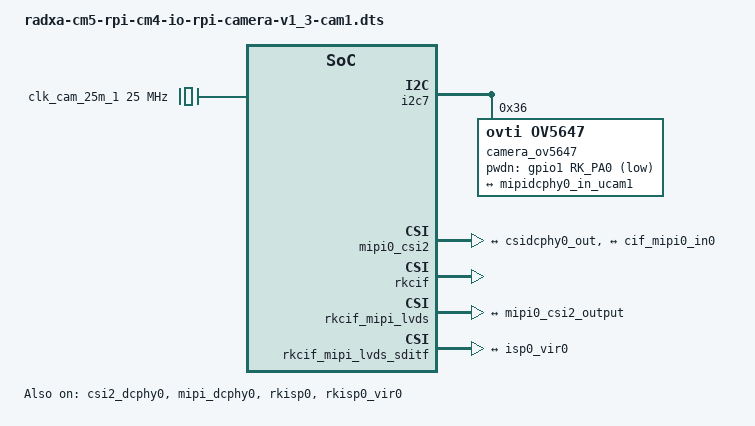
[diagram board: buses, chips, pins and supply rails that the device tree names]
/dts-v1/;
/plugin/;

#include <dt-bindings/gpio/gpio.h>
#include <dt-bindings/pinctrl/rockchip.h>

/ {
	metadata {
		title ="Enable Raspberry Pi Camera v1.3 on CAM1";
		compatible = "radxa,cm5-rpi-cm4-io";
		category = "camera";
		exclusive = "csi2_dcphy0";
		description = "Enable Raspberry Pi Camera v1.3 on CAM1.";
	};
};


&{/} {
	clk_cam_25m_1: external-camera-clock-25m-1 {
		compatible = "fixed-clock";
		clock-frequency = <25000000>;
		clock-output-names = "clk_cam_25m_1";
		#clock-cells = <0>;
	};
};

&i2c7 {
	status = "okay";
	pinctrl-0 = <&i2c7m2_xfer>;
	#address-cells = <1>;
	#size-cells = <0>;

	camera_ov5647: camera-ov5647@36 {
		compatible = "ovti,ov5647";
		reg = <0x36>;
		clocks = <&clk_cam_25m_1>;
		clock-names = "xvclk";
		pwdn-gpios = <&gpio1 RK_PA0 GPIO_ACTIVE_LOW>;
		rockchip,camera-module-index = <1>;
		rockchip,camera-module-facing = "back";
		rockchip,camera-module-name = "rpi-camera-v1p3";
		rockchip,camera-module-lens-name = "default";

		port {
			ov5647_out1: endpoint {
				remote-endpoint = <&mipidcphy0_in_ucam1>;
				data-lanes = <1 2>;
			};
		};
	};
};

&csi2_dcphy0 {
	status = "okay";

	ports {
		#address-cells = <1>;
		#size-cells = <0>;

		port@0 {
			reg = <0>;
			#address-cells = <1>;
			#size-cells = <0>;

			mipidcphy0_in_ucam1: endpoint@1 {
				reg = <1>;
				remote-endpoint = <&ov5647_out1>;
				data-lanes = <1 2>;
			};
		};

		port@1 {
			reg = <1>;
			#address-cells = <1>;
			#size-cells = <0>;

			csidcphy0_out: endpoint@0 {
				reg = <0>;
				remote-endpoint = <&mipi0_csi2_input>;
			};
		};
	};
};

&mipi_dcphy0 {
	status = "okay";
};

&mipi0_csi2 {
	status = "okay";

	ports {
		#address-cells = <1>;
		#size-cells = <0>;

		port@0 {
			reg = <0>;
			#address-cells = <1>;
			#size-cells = <0>;

			mipi0_csi2_input: endpoint@1 {
				reg = <1>;
				remote-endpoint = <&csidcphy0_out>;
			};
		};

		port@1 {
			reg = <1>;
			#address-cells = <1>;
			#size-cells = <0>;

			mipi0_csi2_output: endpoint@0 {
				reg = <0>;
				remote-endpoint = <&cif_mipi0_in0>;
			};
		};
	};
};

&rkcif {
	status = "okay";
};

&rkcif_mipi_lvds {
	status = "okay";

	port {
		cif_mipi0_in0: endpoint {
		remote-endpoint = <&mipi0_csi2_output>;
		};
	};
};

&rkcif_mipi_lvds_sditf {
	status = "okay";

	port {
		mipi_lvds_sditf: endpoint {
			remote-endpoint = <&isp0_vir0>;
		};
	};
};

&rkcif_mmu {
	status = "okay";
};

&isp0_mmu {
	status = "okay";
};

&rkisp0 {
	status = "okay";
};

&rkisp0_vir0 {
	status = "okay";

	port {
		#address-cells = <1>;
		#size-cells = <0>;

		isp0_vir0: endpoint@0 {
			reg = <0>;
			remote-endpoint = <&mipi_lvds_sditf>;
		};
	};
};

&pinctrl {
	camera {
		cam_pwdn_gpio: cam-pwdn-gpio {
			rockchip,pins = <1 RK_PA0 RK_FUNC_GPIO &pcfg_pull_up>;
		};
	};
};
